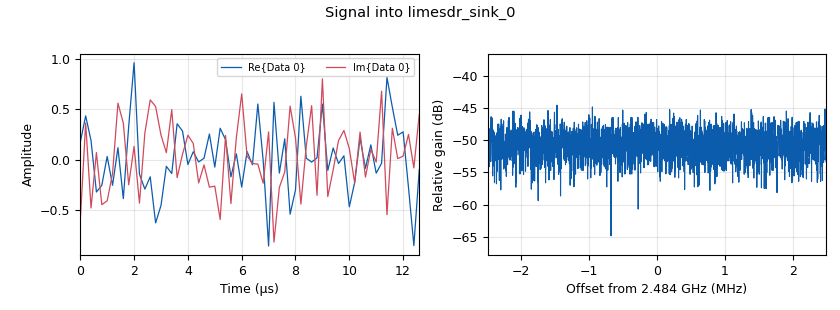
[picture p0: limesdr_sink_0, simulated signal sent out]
options:
  parameters:
    author: martijnhanegraaf
    generate_options: qt_gui
    id: jammer
    output_language: python
    title: Jammer
  states: {}

blocks:
- name: freq
  id: variable
  parameters:
    value: '2484000000'
  states: {}
- name: gain
  id: variable
  parameters:
    value: '50'
  states: {state: disabled}
- name: gain
  id: variable_qtgui_range
  parameters:
    rangeType: int
    start: '0'
    step: '1'
    stop: '73'
    value: '50'
  states: {}
- name: samp_rate
  id: variable
  parameters:
    value: '5000000'
  states: {}
- name: analog_noise_source_x_0
  id: analog_noise_source_x
  parameters:
    amp: '1'
    noise_type: analog.GR_GAUSSIAN
    seed: '0'
    type: complex
  states: {}
- name: blocks_multiply_const_vxx_0
  id: blocks_multiply_const_vxx
  parameters:
    const: '0.5'
    type: complex
  states: {}
- name: limesdr_sink_0
  id: limesdr_sink
  parameters:
    allow_tcxo_dac: '0'
    calibr_bandw_ch0: 5e6
    channel_mode: '0'
    digital_bandw_ch0: '0'
    gain_dB_ch0: gain
    gain_dB_ch1: gain
    oversample: '0'
    pa_path_ch0: '2'
    rf_freq: freq
    samp_rate: samp_rate
    serial: 00090726074F2532
  states: {}

connections:
- [analog_noise_source_x_0, '0', blocks_multiply_const_vxx_0, '0']
- [blocks_multiply_const_vxx_0, '0', limesdr_sink_0, '0']

metadata:
  file_format: 1
  grc_version: 3.10.7.0
